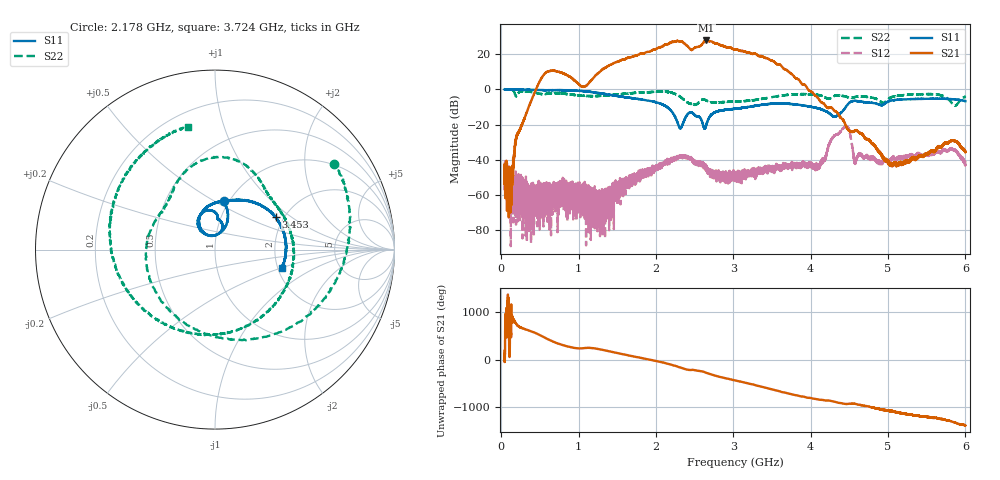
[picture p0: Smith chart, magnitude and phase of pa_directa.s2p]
!Agilent Technologies,E8364A,US41440144,A.06.04.32
!Agilent E8364A: A.06.04.32
!Date: Monday, February 26, 2018 15:11:15
!Correction: S11(Full 2 Port(1,2)) S21(Full 2 Port(1,2)) S12(Full 2 Port(1,2)) S22(Full 2 Port(1,2))
!S2P File: Measurements: S11, S21, S12, S22:
# Hz S  dB  R 50
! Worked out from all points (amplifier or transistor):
!   16001 points, 45 MHz to 6 GHz, reference 50 ohm
!   highest |S21| = 27.7 dB at 2.652 GHz (marker M1)
!   |S21| within 3 dB of that: 2.097 GHz to 2.402 GHz (304.6 MHz wide, 13.5 % of centre)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
!   unconditionally stable (mu >= 1): 80.77 MHz to 112.7 MHz; 113.5 MHz to 1.988 GHz; 2.276 GHz to end of sweep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
!   at 1.037 GHz: K = 31.30, MAG = 11.1 dB, |S12| = -56.6 dB
!   at 3.022 GHz: K = 6.63, MAG = 23.9 dB, |S12| = -47.5 dB
!   at 6 GHz: K = 1895.98, MAG = -32.4 dB, |S12| = -42.4 dB
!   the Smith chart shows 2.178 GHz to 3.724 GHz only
!   S11 on the Smith chart (normalised r, x): 2.178 GHz: 0.94, +0.55; 3.453 GHz: 1.82, +0.77; 3.724 GHz: 2.10, -0.50
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4.5e7  -0.06 -16.6  -45.68 -29.6  -44.37 -98.3  0.03 -19.7
7.011666e8  -0.42 145.4  10.42 2.4  -64.42 45.2  -2.14 127.4
1.037624e9  -0.97 52.3  1.68 -120.3  -69.06 -98.8  -3.55 16.1
1.465268e9  -3.53 -85.2  15.19 153.7  -56.92 17.7  -3.07 -121.6
1.716122e9  -5.10 -160.8  18.92 67.6  -49.50 -78.7  -2.06 171.5
2.030248e9  -7.67 118.2  23.61 -36.9  -43.56 -169.0  -1.34 89.1
2.178007e9  -11.26 79.9  26.19 -95.0  -39.84 148.8  -1.74 35.8
2.2517e9  -15.93 65.5  27.13 -130.5  -39.33 119.9  -2.69 -0.1
2.328742e9  -21.64 110.7  27.13 -172.6  -38.80 82.6  -4.70 -51.9
2.392014e9  -15.34 123.6  25.10 155.2  -38.49 56.9  -6.96 -109.6
2.59709e9  -18.37 71.1  25.49 113.1  -42.48 -6.9  -5.88 95.0
2.651801e9  -20.04 120.0  27.75 81.3  -45.64 -33.4  -6.29 63.3
2.718795e9  -14.41 117.4  27.13 44.1  -47.57 -44.8  -7.40 44.3
2.790999e9  -12.56 103.5  25.90 11.8  -48.85 -37.6  -7.44 27.7
2.900422e9  -11.63 88.5  24.18 -33.0  -48.32 -33.3  -7.14 -0.8
3.0225e9  -11.05 76.2  22.60 -76.9  -47.52 -53.1  -6.95 -36.0
3.226459e9  -9.75 57.1  20.40 -155.9  -46.35 -84.2  -6.40 -103.1
3.453121e9  -8.30 27.9  17.37 111.4  -45.85 -126.8  -4.79 -178.9
3.724073e9  -8.29 -15.3  9.62 -0.3  -42.63 -172.6  -3.09 102.3
4.015124e9  -10.02 -66.5  -1.47 -96.6  -43.13 132.8  -2.87 29.9
5.007748e9  -6.84 102.2  -40.85 -3.7  -40.86 -45.0  -5.36 171.7
6e9  -6.71 -54.9  -35.51 48.1  -42.38 64.2  -4.14 -14.1
